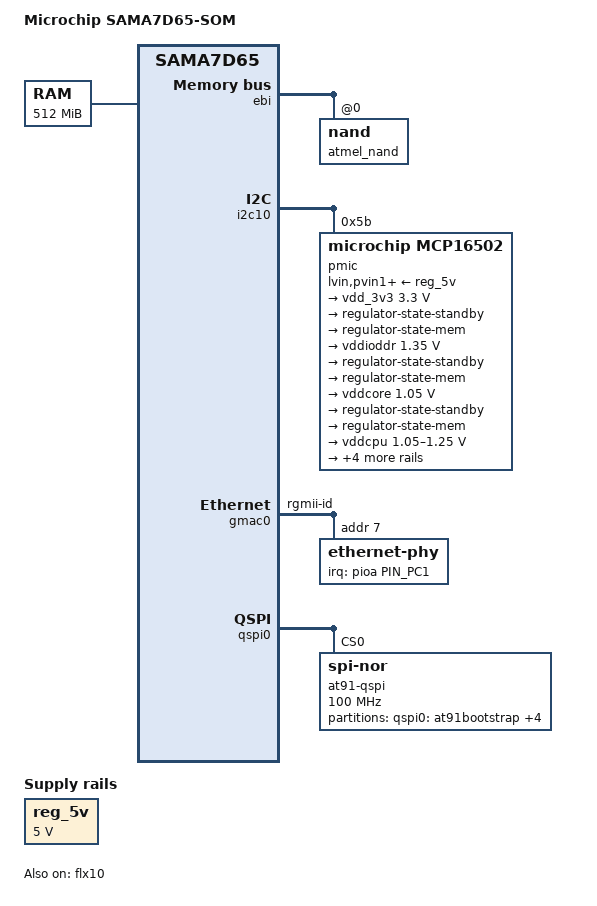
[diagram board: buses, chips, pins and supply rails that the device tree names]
// SPDX-License-Identifier: (GPL-2.0+ OR MIT)
/*
 *  sama7d65_som.dtsi - Device Tree Include file for SAMA7D65 SOM family
 *
 *  Copyright (c) 2026 Microchip Technology Inc. and its subsidiaries
 *
 *  Author: Varshini Rajendran <varshini.rajendran@microchip.com>
 *
 */
/dts-v1/;
#include "sama7d65-pinfunc.h"
#include "sama7d65.dtsi"
#include <dt-bindings/mfd/atmel-flexcom.h>
#include <dt-bindings/input/input.h>
#include <dt-bindings/leds/common.h>
#include <dt-bindings/pinctrl/at91.h>

/ {
	model = "Microchip SAMA7D65-SOM";
	compatible = "microchip,sama7d65", "microchip,sama7";

	memory@60000000 {
		device_type = "memory";
		reg = <0x60000000 0x20000000>;
	};

	reg_5v: regulator-5v {
		compatible = "regulator-fixed";
		regulator-name = "5V_MAIN";
		regulator-min-microvolt = <5000000>;
		regulator-max-microvolt = <5000000>;
		regulator-always-on;
	};
};

&cpu0 {
	cpu-supply = <&vddcpu>;
};

&dma0 {
	status = "okay";
};

&dma1 {
	status = "okay";
};

&dma2 {
	status = "okay";
};

&ebi {
	pinctrl-names = "default";
	pinctrl-0 = <&pinctrl_nand_default>;
	status = "okay";

	nand_controller: nand-controller {
		status = "okay";

		nand@0 {
			reg = <0x0 0x0 0x1000000>;
			atmel,rb = <0>;
			nand-bus-width = <8>;
			nand-ecc-mode = "hw";
			nand-ecc-strength = <8>;
			nand-ecc-step-size = <512>;
			nand-on-flash-bbt;
			label = "atmel_nand";
		};
	};
};

&flx10 {
	atmel,flexcom-mode = <ATMEL_FLEXCOM_MODE_TWI>;
	status = "okay";
};

&i2c10 {
	dmas = <0>, <0>;
	i2c-analog-filter;
	i2c-digital-filter;
	i2c-digital-filter-width-ns = <35>;
	pinctrl-names = "default";
	pinctrl-0 = <&pinctrl_i2c10_default>;
	status = "okay";

	pmic@5b {
		compatible = "microchip,mcp16502";
		reg = <0x5b>;
		lvin-supply = <&reg_5v>;
		pvin1-supply = <&reg_5v>;
		pvin2-supply = <&reg_5v>;
		pvin3-supply = <&reg_5v>;
		pvin4-supply = <&reg_5v>;
		status = "okay";

		regulators {
			vdd_3v3: VDD_IO {
				regulator-name = "VDD_IO";
				regulator-min-microvolt = <3300000>;
				regulator-max-microvolt = <3300000>;
				regulator-initial-mode = <2>;
				regulator-allowed-modes = <2>, <4>;
				regulator-always-on;

				regulator-state-standby {
					regulator-on-in-suspend;
					regulator-suspend-microvolt = <3300000>;
					regulator-mode = <4>;
				};

				regulator-state-mem {
					regulator-off-in-suspend;
					regulator-mode = <4>;
				};
			};

			vddioddr: VDD_DDR {
				regulator-name = "VDD_DDR";
				regulator-min-microvolt = <1350000>;
				regulator-max-microvolt = <1350000>;
				regulator-initial-mode = <2>;
				regulator-allowed-modes = <2>, <4>;
				regulator-always-on;

				regulator-state-standby {
					regulator-on-in-suspend;
					regulator-suspend-microvolt = <1350000>;
					regulator-mode = <4>;
				};

				regulator-state-mem {
					regulator-on-in-suspend;
					regulator-suspend-microvolt = <1350000>;
					regulator-mode = <4>;
				};
			};

			vddcore: VDD_CORE {
				regulator-name = "VDD_CORE";
				regulator-min-microvolt = <1050000>;
				regulator-max-microvolt = <1050000>;
				regulator-initial-mode = <2>;
				regulator-allowed-modes = <2>, <4>;
				regulator-always-on;

				regulator-state-standby {
					regulator-on-in-suspend;
					regulator-suspend-microvolt = <1050000>;
					regulator-mode = <4>;
				};

				regulator-state-mem {
					regulator-off-in-suspend;
					regulator-mode = <4>;
				};
			};

			vddcpu: VDD_OTHER {
				regulator-name = "VDD_OTHER";
				regulator-min-microvolt = <1050000>;
				regulator-max-microvolt = <1250000>;
				regulator-initial-mode = <2>;
				regulator-allowed-modes = <2>, <4>;
				regulator-ramp-delay = <3125>;
				regulator-always-on;

				regulator-state-standby {
					regulator-on-in-suspend;
					regulator-suspend-microvolt = <1050000>;
					regulator-mode = <4>;
				};

				regulator-state-mem {
					regulator-off-in-suspend;
					regulator-mode = <4>;
				};
			};

			vldo1: LDO1 {
				regulator-name = "LDO1";
				regulator-min-microvolt = <1800000>;
				regulator-max-microvolt = <1800000>;
				regulator-always-on;

				regulator-state-standby {
					regulator-suspend-microvolt = <1800000>;
					regulator-on-in-suspend;
				};

				regulator-state-mem {
					regulator-off-in-suspend;
				};
			};

			vldo2: LDO2 {
				regulator-name = "LDO2";
				regulator-min-microvolt = <1200000>;
				regulator-max-microvolt = <3700000>;

				regulator-state-standby {
					regulator-suspend-microvolt = <1800000>;
					regulator-on-in-suspend;
				};

				regulator-state-mem {
					regulator-off-in-suspend;
				};
			};
		};
	};
};

&main_xtal {
	clock-frequency = <24000000>;
};

&gmac0 {
	#address-cells = <1>;
	#size-cells = <0>;
	pinctrl-names = "default";
	pinctrl-0 = <&pinctrl_gmac0_default
		     &pinctrl_gmac0_mdio_default
		     &pinctrl_gmac0_txck_default
		     &pinctrl_gmac0_phy_irq>;
	phy-mode = "rgmii-id";
	status = "okay";

	ethernet-phy@7 {
		reg = <0x7>;
		interrupt-parent = <&pioa>;
		interrupts = <PIN_PC1 IRQ_TYPE_LEVEL_LOW>;
		status = "okay";
	};
};

&pioa {
	pinctrl_gmac0_default: gmac0-default {
		pinmux = <PIN_PA26__G0_TX0>,
			 <PIN_PA27__G0_TX1>,
			 <PIN_PB4__G0_TX2>,
			 <PIN_PB5__G0_TX3>,
			 <PIN_PA29__G0_RX0>,
			 <PIN_PA30__G0_RX1>,
			 <PIN_PB2__G0_RX2>,
			 <PIN_PB6__G0_RX3>,
			 <PIN_PA25__G0_TXCTL>,
			 <PIN_PB3__G0_RXCK>,
			 <PIN_PA28__G0_RXCTL>;
		slew-rate = <0>;
		bias-disable;
	};

	pinctrl_gmac0_mdio_default: gmac0-mdio-default {
		pinmux = <PIN_PA31__G0_MDC>,
			 <PIN_PB0__G0_MDIO>;
		bias-disable;
	};

	pinctrl_gmac0_phy_irq: gmac0-phy-irq {
		pinmux = <PIN_PC1__GPIO>;
		bias-disable;
	};

	pinctrl_gmac0_txck_default: gmac0-txck-default {
		pinmux = <PIN_PB1__G0_REFCK>;
		slew-rate = <0>;
		bias-pull-up;
	};

	pinctrl_i2c10_default: i2c10-default {
		pinmux = <PIN_PB19__FLEXCOM10_IO1>,
			 <PIN_PB20__FLEXCOM10_IO0>;
		bias-pull-up;
	};

	pinctrl_nand_default: nand-default {
		pinmux = <PIN_PA0__NWER0>,
			 <PIN_PA1__A21>,
			 <PIN_PA2__A22>,
			 <PIN_PA3__D0>,
			 <PIN_PA4__D1>,
			 <PIN_PA5__D4>,
			 <PIN_PA6__D5>,
			 <PIN_PA7__D6>,
			 <PIN_PA8__D7>,
			 <PIN_PA9__D2>,
			 <PIN_PA10__D3>,
			 <PIN_PA11__NANDRDY>,
			 <PIN_PA12__NRD>,
			 <PIN_PA13__NCS0>;
		slew-rate = <0>;
		bias-disable;
	};

	pinctrl_qspi0_default: qspi0-default {
		pinmux = <PIN_PB8__QSPI0_IO3>,
			 <PIN_PB9__QSPI0_IO2>,
			 <PIN_PB10__QSPI0_IO1>,
			 <PIN_PB11__QSPI0_IO0>,
			 <PIN_PB12__QSPI0_CS>,
			 <PIN_PB13__QSPI0_SCK>;
		bias-disable;
		atmel,drive-strength = <ATMEL_PIO_DRVSTR_ME>;
		slew-rate = <0>;
	};
};

&qspi0 {
	pinctrl-names = "default";
	pinctrl-0 = <&pinctrl_qspi0_default>;
	status = "okay";

	flash@0 {
		compatible = "jedec,spi-nor";
		reg = <0x0>;
		spi-max-frequency = <100000000>;
		spi-tx-bus-width = <4>;
		spi-rx-bus-width = <4>;
		m25p,fast-read;
		label = "at91-qspi";

		partitions {
			compatible = "fixed-partitions";
			#address-cells = <1>;
			#size-cells = <1>;

			at91bootstrap@0 {
				label = "qspi0: at91bootstrap";
				reg = <0x0 0x40000>;
			};

			bootloader@40000 {
				label = "qspi0: u-boot";
				reg = <0x40000 0x100000>;
			};

			bootloaderenv@140000 {
				label = "qspi0: u-boot env";
				reg = <0x140000 0x40000>;
			};

			dtb@180000 {
				label = "qspi0: device tree";
				reg = <0x180000 0x80000>;
			};

			kernel@200000 {
				label = "qspi0: kernel";
				reg = <0x200000 0x600000>;
			};
		};
	};
};

&slow_xtal {
	clock-frequency = <32768>;
};
